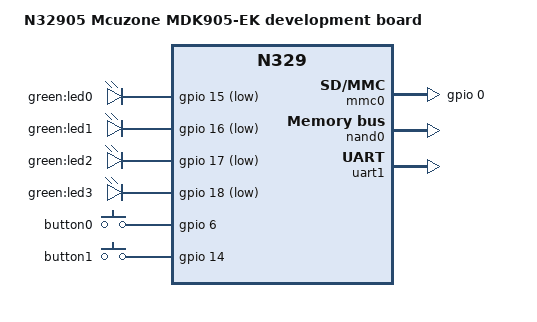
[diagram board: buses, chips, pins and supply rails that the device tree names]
/*
 * Copyright (C) 2014 Michael P. Thompson, Inc. All Rights Reserved.
 *
 * This program is free software; you can redistribute it and/or modify
 * it under the terms of the GNU General Public License as published by
 * the Free Software Foundation; either version 2 of the License, or
 * (at your option) any later version.
 *
 * This program is distributed in the hope that it will be useful,
 * but WITHOUT ANY WARRANTY; without even the implied warranty of
 * MERCHANTABILITY or FITNESS FOR A PARTICULAR PURPOSE.  See the
 * GNU General Public License for more details.
 *
 * You should have received a copy of the GNU General Public License along
 * with this program; if not, write to the Free Software Foundation, Inc.,
 * 51 Franklin Street, Fifth Floor, Boston, MA 02110-1301 USA.
 */

/dts-v1/;
#include "n32905.dtsi"

/ {
	model = "N32905 Mcuzone MDK905-EK development board";
	compatible = "nuvoton,n32905-mcuzone", "nuvoton,n32905", "nuvoton,n329";

	ahb@B0000000 {
		uhc@B1009000 {
			pinctrl-names = "default";
			pinctrl-0 = <&usb0_pins>;
			status = "okay";
		};

		mmc0: sd@B1006820 {
			pinctrl-names = "default";
			pinctrl-0 = <&mmc0_pins &mmc0_wp_pin>;
			gpios = <&gpio 0 0>;
			status = "okay";
		};

		nand0: nand@B10068A0 {
			pinctrl-names = "default";
			pinctrl-0 = <&nand0_pins>;
			status = "okay";

			partition@0 {
				label = "part1";
				reg = <0x0 0x100000>;
			};

			partition@100000 {
				label = "part2";
				reg = <0x100000 0x7F00000>;
			};
		};
	};

	apb@B8000000 {
		pinctrl@B8001000 {
			led_pins: led_pins@0 {
				reg = <0>;
				nuvoton,pinmux-ids = <
					N32905_PAD_GPB03__GPIOB_D03
					N32905_PAD_GPB04__GPIOB_D04
					N32905_PAD_GPB05__GPIOB_D05
					N32905_PAD_GPB06__GPIOB_D06
				>;
				nuvoton,pull-up = <N329_PULL_DISABLE>;
			};

			button_pins: button_pins@0 {
				reg = <0>;
				nuvoton,pinmux-ids = <
					N32905_PAD_GPA06__GPIOA_D06
					N32905_PAD_GPB02__GPIOB_D02
				>;
				nuvoton,pull-up = <N329_PULL_DISABLE>;
			};

			mmc0_wp_pin: mmc0-wp-pin@0 {
				reg = <0>;
				nuvoton,pinmux-ids = <
					N32905_PAD_GPA00__GPIOA_D00
				>;
				nuvoton,pull-up = <N329_PULL_DISABLE>;
			};
		};

		uart1: serial@B8008100 {
			pinctrl-names = "default";
			pinctrl-0 = <&uart1_pins>;
			status = "okay";
		};
	};

	gpio-leds {
		compatible = "gpio-leds";
		pinctrl-names = "default";
		pinctrl-0 = <&led_pins>;

		led0 {
			label ="green:led0";
			gpios = <&gpio 15 1>;
			default-state = "on";
		};

		led1 {
			label ="green:led1";
			gpios = <&gpio 16 1>;
			default-state = "on";
		};

		led2 {
			label ="green:led2";
			gpios = <&gpio 17 1>;
			default-state = "on";
		};

		led3 {
			label ="green:led3";
			gpios = <&gpio 18 1>;
			default-state = "on";
		};
	};

	gpio-buttons {
		compatible = "gpio-keys";
		#address-cells = <1>;
		#size-cells = <0>;
		pinctrl-names = "default";
		pinctrl-0 = <&button_pins>;

		button0 {
			label = "button0";
			linux,code = <0>;
			gpios = <&gpio 6 0>;
		};

		button1 {
			label = "button1";
			linux,code = <1>;
			gpios = <&gpio 14 0>;
		};
	};
};

